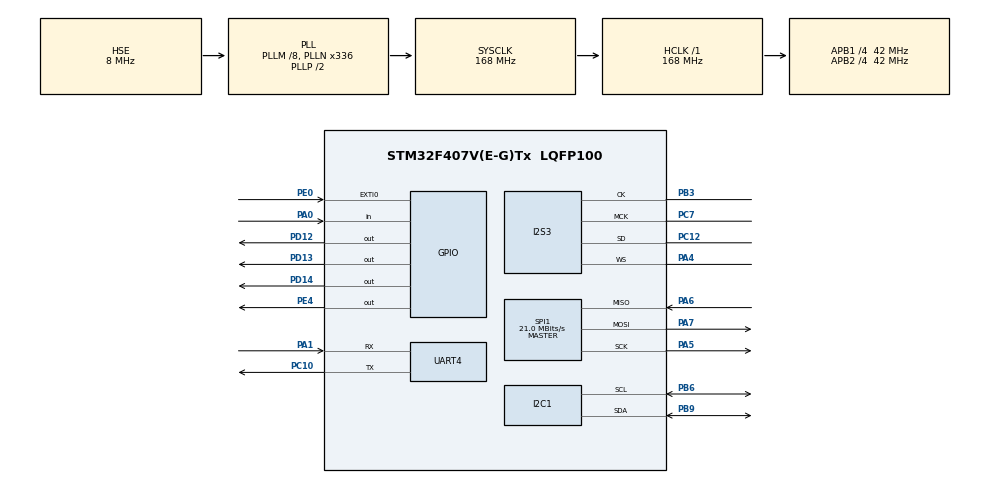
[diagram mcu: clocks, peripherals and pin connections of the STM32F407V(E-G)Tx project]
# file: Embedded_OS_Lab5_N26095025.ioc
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Dma.Request0=SPI3_TX
Dma.SPI3_TX.0.Direction=DMA_MEMORY_TO_PERIPH
Dma.SPI3_TX.0.FIFOMode=DMA_FIFOMODE_ENABLE
Dma.SPI3_TX.0.FIFOThreshold=DMA_FIFO_THRESHOLD_FULL
Dma.SPI3_TX.0.Instance=DMA1_Stream5
Dma.SPI3_TX.0.MemBurst=DMA_MBURST_SINGLE
Dma.SPI3_TX.0.MemDataAlignment=DMA_MDATAALIGN_HALFWORD
Dma.SPI3_TX.0.MemInc=DMA_MINC_ENABLE
Dma.SPI3_TX.0.Mode=DMA_CIRCULAR
Dma.SPI3_TX.0.PeriphBurst=DMA_PBURST_SINGLE
Dma.SPI3_TX.0.PeriphDataAlignment=DMA_PDATAALIGN_HALFWORD
Dma.SPI3_TX.0.PeriphInc=DMA_PINC_DISABLE
Dma.SPI3_TX.0.Priority=DMA_PRIORITY_LOW
I2S3.AudioFreq=I2S_AUDIOFREQ_44K
I2S3.ErrorAudioFreq=0.24 %
I2S3.FullDuplexMode=I2S_FULLDUPLEXMODE_DISABLE
I2S3.Instance=SPI$Index
I2S3.RealAudioFreq=44.108 KHz
I2S3.VirtualMode=I2S_MODE_MASTER
Mcu.Family=STM32F4
Mcu.Name=STM32F407V(E-G)Tx
Mcu.Package=LQFP100
NVIC.DMA1_Stream5_IRQn=true\:0\:0\:false\:false\:true\:false\:true
NVIC.EXTI0_IRQn=true\:15\:0\:true\:false\:true\:true\:true
NVIC.PriorityGroup=NVIC_PRIORITYGROUP_4
NVIC.TIM6_DAC_IRQn=true\:0\:0\:true\:false\:true\:false\:true
NVIC.TimeBase=TIM6_DAC_IRQn
NVIC.TimeBaseIP=TIM6
PA0-WKUP.Signal=GPIO_Input
PA1.Mode=Asynchronous
PA1.Signal=UART4_RX
PA4.Mode=Half_Duplex_Master
PA4.Signal=I2S3_WS
PA5.Mode=Full_Duplex_Master
PA5.Signal=SPI1_SCK
PA6.Mode=Full_Duplex_Master
PA6.Signal=SPI1_MISO
PA7.Mode=Full_Duplex_Master
PA7.Signal=SPI1_MOSI
PB3.Mode=Half_Duplex_Master
PB3.Signal=I2S3_CK
PB6.Mode=I2C
PB6.Signal=I2C1_SCL
PB9.Mode=I2C
PB9.Signal=I2C1_SDA
PC10.Mode=Asynchronous
PC10.Signal=UART4_TX
PC12.Mode=Half_Duplex_Master
PC12.Signal=I2S3_SD
PC7.Mode=Master_Clock_Activated
PC7.Signal=I2S3_MCK
PD12.Signal=GPIO_Output
PD13.Signal=GPIO_Output
PD14.Signal=GPIO_Output
PE0.Signal=GPXTI0
PE4.Signal=GPIO_Output
PH0-OSC_IN.Mode=HSE-External-Oscillator
PH0-OSC_IN.Signal=RCC_OSC_IN
PH1-OSC_OUT.Mode=HSE-External-Oscillator
PH1-OSC_OUT.Signal=RCC_OSC_OUT
ProjectManager.HeapSize=0x200
ProjectManager.StackSize=0x400
ProjectManager.TargetToolchain=STM32CubeIDE
RCC.48MHZClocksFreq_Value=84000000
RCC.AHBFreq_Value=168000000
RCC.APB1CLKDivider=RCC_HCLK_DIV4
RCC.APB1Freq_Value=42000000
RCC.APB1TimFreq_Value=84000000
RCC.APB2CLKDivider=RCC_HCLK_DIV4
RCC.APB2Freq_Value=42000000
RCC.APB2TimFreq_Value=84000000
RCC.CortexFreq_Value=168000000
RCC.HCLKFreq_Value=168000000
RCC.HSE_VALUE=8000000
RCC.HSI_VALUE=16000000
RCC.LSE_VALUE=32768
RCC.PLLI2SN=271
RCC.PLLI2SR=6
RCC.PLLM=8
RCC.PLLN=336
RCC.PLLSourceVirtual=RCC_PLLSOURCE_HSE
RCC.SYSCLKFreq_VALUE=168000000
RCC.SYSCLKSource=RCC_SYSCLKSOURCE_PLLCLK
RCC.VCOOutputFreq_Value=336000000
SPI1.BaudRatePrescaler=SPI_BAUDRATEPRESCALER_2
SPI1.CalculateBaudRate=21.0 MBits/s
SPI1.Direction=SPI_DIRECTION_2LINES
SPI1.Mode=SPI_MODE_MASTER
SPI1.VirtualType=VM_MASTER
UART4.VirtualMode=Asynchronous
VP_SYS_VS_tim6.Mode=TIM6
board=custom

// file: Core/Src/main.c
/* USER CODE BEGIN Header */
/**
 ******************************************************************************
 * @file           : main.c
 * @brief          : Main program body
 ******************************************************************************
 * @attention
 *
 * <h2><center>&copy; Copyright (c) 2021 STMicroelectronics.
 * All rights reserved.</center></h2>
 *
 * This software component is licensed by ST under BSD 3-Clause license,
 * the "License"; You may not use this file except in compliance with the
 * License. You may obtain a copy of the License at:
 *                        opensource.org/licenses/BSD-3-Clause
 *
 ******************************************************************************
 */

#include "mmc_sd.h"
#include "fatfs.h"
#include "fops.h"
#include <string.h>
//#include "main.h"
#include "FreeRTOS.h"

#include "queue.h"
#include "semphr.h"
#include "task.h"
#include "File_Handling.h"
#include "waveplayer.h"
/* USER CODE END Header */
#include "main.h"

/* USER CODE BEGIN Includes */
//#define RXBUFFERSIZE  256
//char RxBuffer[RXBUFFERSIZE];
//#include <stdio.h>
/* USER CODE END Includes */

I2C_HandleTypeDef hi2c1;

I2S_HandleTypeDef hi2s3;
DMA_HandleTypeDef hdma_spi3_tx;

SPI_HandleTypeDef hspi1;

UART_HandleTypeDef huart4;

void SystemClock_Config(void);
static void MX_GPIO_Init(void);
static void MX_DMA_Init(void);
void MX_SPI1_Init(void);
static void MX_UART4_Init(void);
static void MX_I2C1_Init(void);
static void MX_I2S3_Init(void);
/* USER CODE BEGIN PFP */
//extern ApplicationTypeDef Appli_state;
extern AUDIO_PLAYBACK_StateTypeDef AudioState;
SemaphoreHandle_t xSemaphore;
uint8_t flag = pdTRUE;
uint8_t isFinished = 0;

/* USER CODE END PFP */

/* USER CODE BEGIN 0 */
//UART_HandleTypeDef UartHandle;
/* Private function prototypes -----------------------------------------------*/
void Task1(void *pvParameters);
void Task2(void *pvParameters);
void Task3(void *pvParameters);

void SD_RdWrTest(void) {
	int i = 0;
	static uint8_t bufr[SD_SECTOR_SIZE];
	static uint8_t bufw[SD_SECTOR_SIZE];

	for (i = 0; i < sizeof(bufw); i++) {
		bufr[i] = 0;
		bufw[i] = i % 0xFF;
	}

	SD_WriteDisk(bufw, 1, 1);
	SD_ReadDisk(bufr, 1, 1);
	printf("# SD Card Read & Write Test %s!\r\n",
			memcmp(bufr, bufw, sizeof(bufr)) == 0 ? "Successfully" : "Failed");
}
/* USER CODE END 0 */

int main(void) {
	/* USER CODE BEGIN 1 */
	uint64_t CardSize = 0;
	/* USER CODE END 1 */

	/* MCU Configuration--------------------------------------------------------*/

	/* Reset of all peripherals, Initializes the Flash interface and the Systick. */
	HAL_Init();

	/* Configure the system clock */
	SystemClock_Config();

	/* Initialize all configured peripherals */
	MX_GPIO_Init();
	MX_DMA_Init();
	MX_SPI1_Init();
	MX_UART4_Init();
	MX_I2C1_Init();
	MX_I2S3_Init();
	/* USER CODE BEGIN 2 */

	CardSize = SD_GetSectorCount();

	// 字节转为兆
	CardSize = CardSize * SD_SECTOR_SIZE / 1024 / 1024;

	// 打印信息
	printf("# SD Card Type:0x%02X\r\n", SD_Type);
	printf("# SD Card Size:%luMB\r\n", (uint32_t) CardSize);
	HAL_Delay(1000);

	printf(
			"\r\n\r\n####################### HAL Libary SD Card SPI FATFS Demo ################################\r\n");
	MX_FATFS_Init();
	exf_mount();
	exf_getfree();
	FATFS_RdWrTest();

	xSemaphore = xSemaphoreCreateMutex();
	xTaskCreate(Task3, "task3", 500, NULL, 1, NULL);

	//xTaskCreate(Task1, "task1", 500, NULL, 1, NULL);
	//xTaskCreate(Task2, "task2", 500, NULL, 1, NULL);

	vTaskStartScheduler();
	/* USER CODE END 2 */

	/* Infinite loop */
	while (1) {

	}
}

void SystemClock_Config(void) {
	RCC_OscInitTypeDef RCC_OscInitStruct = { 0 };
	RCC_ClkInitTypeDef RCC_ClkInitStruct = { 0 };
	RCC_PeriphCLKInitTypeDef PeriphClkInitStruct = { 0 };

	/** Configure the main internal regulator output voltage
	 */
	__HAL_RCC_PWR_CLK_ENABLE();
	__HAL_PWR_VOLTAGESCALING_CONFIG(PWR_REGULATOR_VOLTAGE_SCALE1);
	/** Initializes the RCC Oscillators according to the specified parameters
	 * in the RCC_OscInitTypeDef structure.
	 */
	RCC_OscInitStruct.OscillatorType = RCC_OSCILLATORTYPE_HSE;
	RCC_OscInitStruct.HSEState = RCC_HSE_ON;
	RCC_OscInitStruct.PLL.PLLState = RCC_PLL_ON;
	RCC_OscInitStruct.PLL.PLLSource = RCC_PLLSOURCE_HSE;
	RCC_OscInitStruct.PLL.PLLM = 8;
	RCC_OscInitStruct.PLL.PLLN = 336;
	RCC_OscInitStruct.PLL.PLLP = RCC_PLLP_DIV2;
	RCC_OscInitStruct.PLL.PLLQ = 4;
	if (HAL_RCC_OscConfig(&RCC_OscInitStruct) != HAL_OK) {
		Error_Handler();
	}
	/** Initializes the CPU, AHB and APB buses clocks
	 */
	RCC_ClkInitStruct.ClockType = RCC_CLOCKTYPE_HCLK | RCC_CLOCKTYPE_SYSCLK
			| RCC_CLOCKTYPE_PCLK1 | RCC_CLOCKTYPE_PCLK2;
	RCC_ClkInitStruct.SYSCLKSource = RCC_SYSCLKSOURCE_PLLCLK;
	RCC_ClkInitStruct.AHBCLKDivider = RCC_SYSCLK_DIV1;
	RCC_ClkInitStruct.APB1CLKDivider = RCC_HCLK_DIV4;
	RCC_ClkInitStruct.APB2CLKDivider = RCC_HCLK_DIV4;

	if (HAL_RCC_ClockConfig(&RCC_ClkInitStruct, FLASH_LATENCY_5) != HAL_OK) {
		Error_Handler();
	}
	PeriphClkInitStruct.PeriphClockSelection = RCC_PERIPHCLK_I2S;
	PeriphClkInitStruct.PLLI2S.PLLI2SN = 271;
	PeriphClkInitStruct.PLLI2S.PLLI2SR = 6;
	if (HAL_RCCEx_PeriphCLKConfig(&PeriphClkInitStruct) != HAL_OK) {
		Error_Handler();
	}
}

static void MX_I2C1_Init(void) {

	hi2c1.Instance = I2C1;
	hi2c1.Init.ClockSpeed = 100000;
	hi2c1.Init.DutyCycle = I2C_DUTYCYCLE_2;
	hi2c1.Init.OwnAddress1 = 0;
	hi2c1.Init.AddressingMode = I2C_ADDRESSINGMODE_7BIT;
	hi2c1.Init.DualAddressMode = I2C_DUALADDRESS_DISABLE;
	hi2c1.Init.OwnAddress2 = 0;
	hi2c1.Init.GeneralCallMode = I2C_GENERALCALL_DISABLE;
	hi2c1.Init.NoStretchMode = I2C_NOSTRETCH_DISABLE;
	if (HAL_I2C_Init(&hi2c1) != HAL_OK) {
		Error_Handler();
	}

}

static void MX_I2S3_Init(void) {

	hi2s3.Instance = SPI3;
	hi2s3.Init.Mode = I2S_MODE_MASTER_TX;
	hi2s3.Init.Standard = I2S_STANDARD_PHILIPS;
	hi2s3.Init.DataFormat = I2S_DATAFORMAT_16B;
	hi2s3.Init.MCLKOutput = I2S_MCLKOUTPUT_ENABLE;
	hi2s3.Init.AudioFreq = I2S_AUDIOFREQ_44K;
	hi2s3.Init.CPOL = I2S_CPOL_LOW;
	hi2s3.Init.ClockSource = I2S_CLOCK_PLL;
	hi2s3.Init.FullDuplexMode = I2S_FULLDUPLEXMODE_DISABLE;
	if (HAL_I2S_Init(&hi2s3) != HAL_OK) {
		Error_Handler();
	}

}

void MX_SPI1_Init(void) {

	/* SPI1 parameter configuration*/
	hspi1.Instance = SPI1;
	hspi1.Init.Mode = SPI_MODE_MASTER;
	hspi1.Init.Direction = SPI_DIRECTION_2LINES;
	hspi1.Init.DataSize = SPI_DATASIZE_8BIT;
	hspi1.Init.CLKPolarity = SPI_POLARITY_LOW;
	hspi1.Init.CLKPhase = SPI_PHASE_1EDGE;
	hspi1.Init.NSS = SPI_NSS_SOFT;
	hspi1.Init.BaudRatePrescaler = SPI_BAUDRATEPRESCALER_4;
	hspi1.Init.FirstBit = SPI_FIRSTBIT_MSB;
	hspi1.Init.TIMode = SPI_TIMODE_DISABLE;
	hspi1.Init.CRCCalculation = SPI_CRCCALCULATION_DISABLE;
	hspi1.Init.CRCPolynomial = 10;
	if (HAL_SPI_Init(&hspi1) != HAL_OK) {
		Error_Handler();
	}

}

static void MX_UART4_Init(void) {

	huart4.Instance = UART4;
	huart4.Init.BaudRate = 115200;
	huart4.Init.WordLength = UART_WORDLENGTH_8B;
	huart4.Init.StopBits = UART_STOPBITS_1;
	huart4.Init.Parity = UART_PARITY_NONE;
	huart4.Init.Mode = UART_MODE_TX_RX;
	huart4.Init.HwFlowCtl = UART_HWCONTROL_NONE;
	huart4.Init.OverSampling = UART_OVERSAMPLING_16;
	if (HAL_UART_Init(&huart4) != HAL_OK) {
		Error_Handler();
	}

}

static void MX_DMA_Init(void) {

	/* DMA controller clock enable */
	__HAL_RCC_DMA1_CLK_ENABLE();

	/* DMA interrupt init */
	/* DMA1_Stream5_IRQn interrupt configuration */
	HAL_NVIC_SetPriority(DMA1_Stream5_IRQn, 0, 0);
	HAL_NVIC_EnableIRQ(DMA1_Stream5_IRQn);

}

static void MX_GPIO_Init(void) {
	GPIO_InitTypeDef GPIO_InitStruct = { 0 };

	/* GPIO Ports Clock Enable */
	__HAL_RCC_GPIOE_CLK_ENABLE();
	__HAL_RCC_GPIOH_CLK_ENABLE();
	__HAL_RCC_GPIOA_CLK_ENABLE();
	__HAL_RCC_GPIOD_CLK_ENABLE();
	__HAL_RCC_GPIOC_CLK_ENABLE();
	__HAL_RCC_GPIOB_CLK_ENABLE();

	/*Configure GPIO pin Output Level */
	HAL_GPIO_WritePin(GPIOE, GPIO_PIN_4, GPIO_PIN_RESET);

	/*Configure GPIO pin Output Level */
	HAL_GPIO_WritePin(GPIOD, GPIO_PIN_12 | GPIO_PIN_13 | GPIO_PIN_14,
			GPIO_PIN_RESET);

	/*Configure GPIO pin : PE4 */
	GPIO_InitStruct.Pin = GPIO_PIN_4;
	GPIO_InitStruct.Mode = GPIO_MODE_OUTPUT_PP;
	GPIO_InitStruct.Pull = GPIO_NOPULL;
	GPIO_InitStruct.Speed = GPIO_SPEED_FREQ_LOW;
	HAL_GPIO_Init(GPIOE, &GPIO_InitStruct);

	/*Configure GPIO pins : PD12 PD13 PD14 */
	GPIO_InitStruct.Pin = GPIO_PIN_12 | GPIO_PIN_13 | GPIO_PIN_14;
	GPIO_InitStruct.Mode = GPIO_MODE_OUTPUT_PP;
	GPIO_InitStruct.Pull = GPIO_NOPULL;
	GPIO_InitStruct.Speed = GPIO_SPEED_FREQ_LOW;
	HAL_GPIO_Init(GPIOD, &GPIO_InitStruct);

	/*Configure GPIO pin : PE0 */
	GPIO_InitStruct.Pin = GPIO_PIN_0;
	GPIO_InitStruct.Mode = GPIO_MODE_IT_RISING;
	GPIO_InitStruct.Pull = GPIO_NOPULL;
	HAL_GPIO_Init(GPIOE, &GPIO_InitStruct);

	/* EXTI interrupt init*/
	HAL_NVIC_SetPriority(EXTI0_IRQn, 15, 0);
	HAL_NVIC_EnableIRQ(EXTI0_IRQn);

}

/* USER CODE BEGIN 4 */
void Task1(void *pvParameters) {
  uint8_t count=0;
  for (;;) {
	if (xSemaphore != NULL){
	  FIL test;

	  if ( xSemaphoreTake(xSemaphore, portMAX_DELAY ) == pdTRUE)
	  {
	    if (f_open(&test, "TEST.TXT", FA_WRITE) != 0) printf("open file err in task1\r\n");
	    else printf("file open ok in task1\r\n");

		char buff[13];
		memset(buff, 0, 13);
		if(count%2) sprintf(buff, "%s", "DataWriteT");
		else sprintf(buff, "%s", "DataWriteF");

		UINT byteswrite;
		f_write(&test, buff, 12, &byteswrite);
		f_close(&test);
		count++;

		xSemaphoreGive( xSemaphore );
	  }

    }// if (xSemasphore != NULL)
    vTaskDelay(1);
  }
}

void Task2(void *pvParameters) {
  for (;;) {
    if (xSemaphore != NULL) {

      FIL test_1;

      if ( xSemaphoreTake(xSemaphore, portMAX_DELAY ) == pdTRUE)
      {
	    if (f_open(&test_1, "TEST.TXT", FA_READ) != 0) printf("open file err in task2\r\n");
	    else printf("file open ok in task2\r\n");

	    char buff[11];
		memset(buff, 0, 11);
		UINT bytesread;
		f_read(&test_1, buff, 11, &bytesread);
		printf("data read is %s in task 2\r\n", buff);
		f_close(&test_1);

		xSemaphoreGive( xSemaphore );
	  }

    }//if xSemasphore != NULL
    vTaskDelay(1);
  }
}

void Task3(void *pvParameters) {

	TickType_t last_time;
	const TickType_t inv = 5000/ portTICK_PERIOD_MS;
	last_time = xTaskGetTickCount();
	//PlayInit();
	for (;;) {
		AUDIO_PLAYER_Start(0);
		while(!isFinished){
			AUDIO_PLAYER_Process(true);

			if(xTaskGetTickCount() - last_time >= inv){
				AudioState = AUDIO_STATE_NEXT;
				last_time = xTaskGetTickCount();
			}

			if(AudioState == AUDIO_STATE_STOP){
				isFinished =1;
			}
		}
	}

}

void HAL_GPIO_EXTI_Callback(uint16_t GPIO_Pin) {
	BaseType_t xHigherPriorityTaskWoken;
	if (GPIO_Pin == GPIO_PIN_0) {
		xHigherPriorityTaskWoken = pdFALSE;
		if (flag == pdTRUE) {
			xSemaphoreGiveFromISR(xSemaphore, &xHigherPriorityTaskWoken);
		} else {
			//do nothing
		}

		HAL_GPIO_TogglePin(GPIOD, GPIO_PIN_14);
		uint8_t data_1 = 0x5f | 0x80;
		HAL_GPIO_WritePin(GPIOE, GPIO_PIN_3, GPIO_PIN_RESET);
		HAL_SPI_Transmit(&hspi1, &data_1, 1, 10);
		////	HAL_Delay(10);
		HAL_SPI_Receive(&hspi1, &data_1, 1, 10);
		HAL_GPIO_WritePin(GPIOE, GPIO_PIN_3, GPIO_PIN_SET);
		portYIELD_FROM_ISR(xHigherPriorityTaskWoken);
	}

}
/* USER CODE END 4 */

void HAL_TIM_PeriodElapsedCallback(TIM_HandleTypeDef *htim) {
	if (htim->Instance == TIM6) {
		HAL_IncTick();
	}
}

void Error_Handler(void) {
	__disable_irq();
	while (1) {
	}
}

/************************ (C) COPYRIGHT STMicroelectronics *****END OF FILE****/
